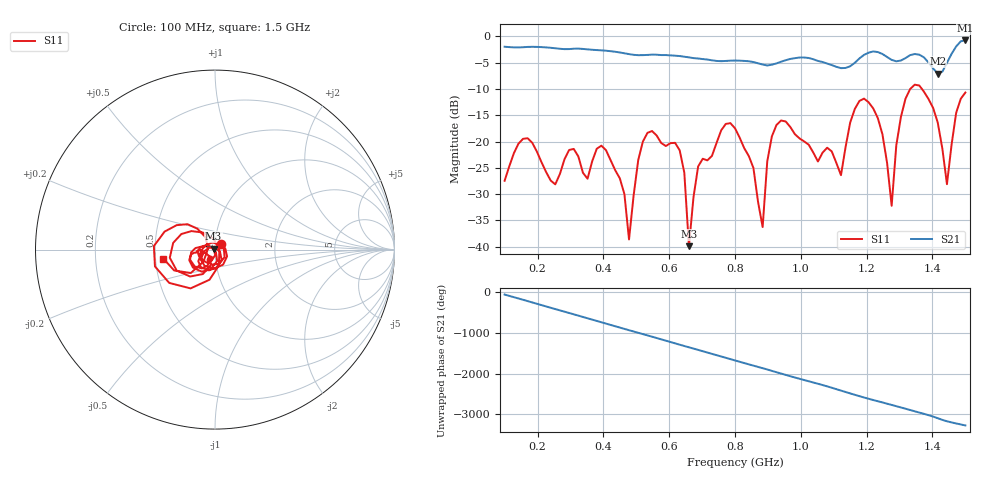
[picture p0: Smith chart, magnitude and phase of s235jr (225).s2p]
! NanoVNA-App
! Date: 2025-09-25 15:05:55
! Start: 100MHz Stop: 1,5GHz Points: 101
! S-Parameter data: F S11 S21 S12 S22
# Hz S RI R 50
!  Frequency  S11_Real  S11_Imag  S21_Real  S21_Imag  S12_Real  S12_Imag  S22_Real  S22_Imag
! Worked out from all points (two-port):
!   101 points, 100 MHz to 1.5 GHz, reference 50 ohm
!   highest |S21| = -0.77 dB at 1.5 GHz (marker M1); lowest = -7.1 dB at 1.416 GHz (marker M2)
!   |S21| within 3 dB of the highest: start of sweep to 635.5 MHz; 1.187 GHz to 1.258 GHz (71.69 MHz wide, 5.86 % of centre) (the widest 2 of 4)
!   lowest |S11| = -39.9 dB at 660 MHz (marker M3), VSWR 1.02, Z = 49.2 + j0.575 ohm
!   |S11| at or under -10 dB: start of sweep to 1.332 GHz; 1.368 GHz to end of sweep
!   S12 and S22 are empty: the file has one direction only
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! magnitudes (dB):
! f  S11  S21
! 100 MHz  -27.5  -2.0
! 170 MHz  -19.4  -2.0
! 338 MHz  -25.9  -2.4
! 408 MHz  -21.6  -2.7
! 478 MHz  -38.6  -3.4
! 520 MHz  -20.0  -3.6
! 576 MHz  -20.3  -3.6
! 632 MHz  -21.7  -3.7
! 660 MHz  -39.9  -4.0
! 688 MHz  -24.7  -4.2
! 800 MHz  -17.5  -4.6
! 884 MHz  -36.3  -5.4
! 926 MHz  -16.9  -5.1
! 1.038 GHz  -22.1  -4.3
! 1.122 GHz  -26.4  -6.0
! 1.192 GHz  -11.8  -3.5
! 1.248 GHz  -18.6  -3.3
! 1.276 GHz  -32.2  -4.5
! 1.332 GHz  -10.0  -3.6
! 1.416 GHz  -16.4  -7.1
! 1.444 GHz  -28.1  -5.0
! 1.5 GHz  -10.7  -0.8
